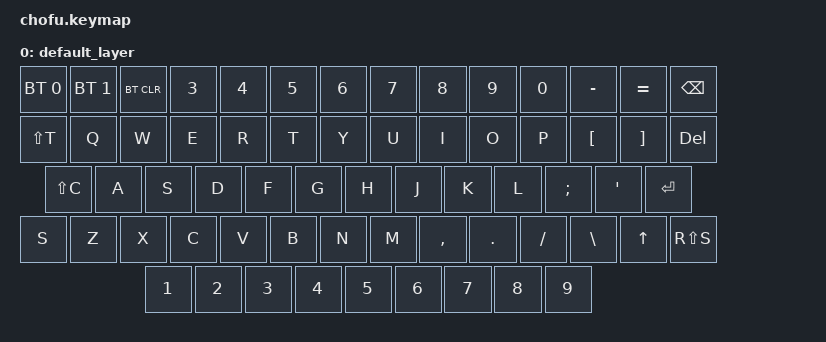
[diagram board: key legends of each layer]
#include <behaviors.dtsi>
#include <dt-bindings/zmk/keys.h>
#include <dt-bindings/zmk/bt.h>

/ {
    keymap {
        compatible = "zmk,keymap";

        default_layer {
            bindings = <
                /*  &kp ESC   &kp N1 &kp N2 */ 

&bt BT_SEL 0   &bt BT_SEL 1   &bt BT_CLR &kp N3 &kp N4 &kp N5 &kp N6 &kp N7 &kp N8 &kp N9 &kp N0 &kp MINUS &kp EQUAL &kp BSPC
                &kp LS(T)   &kp Q  &kp W  &kp E  &kp R  &kp T  &kp Y  &kp U  &kp I  &kp O  &kp P  &kp LBKT &kp RBKT &kp DEL
                &kp LS(C)  &kp A  &kp S  &kp D  &kp F  &kp G  &kp H  &kp J  &kp K  &kp L  &kp SEMI &kp SQT  &kp ENTER
                &kp S &kp Z  &kp X  &kp C  &kp V  &kp B  &kp N  &kp M  &kp COMMA &kp DOT &kp FSLH &kp BSLH &kp UP &kp RS(S)
                &kp N1 &kp N2 &kp N3 &kp N4 &kp N5 &kp N6 &kp N7 &kp N8 &kp N9                     
            >;
        };
    };
};
